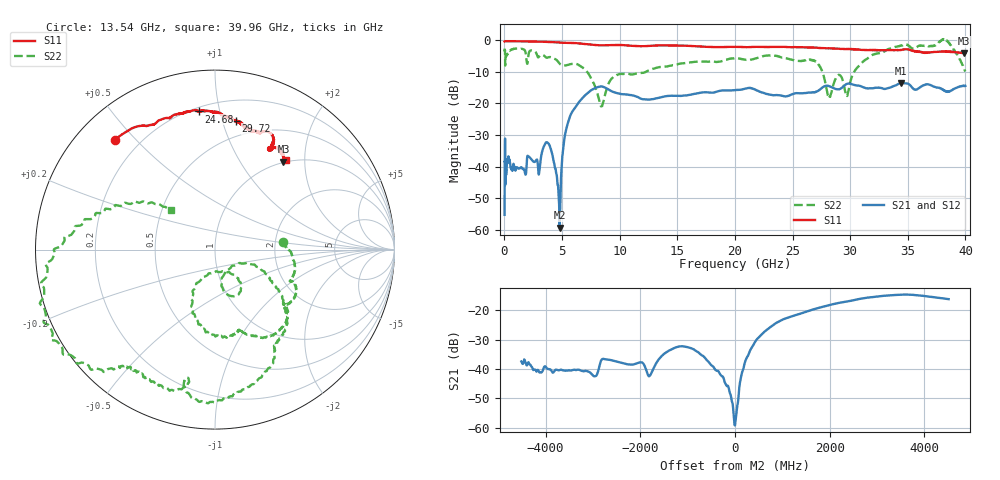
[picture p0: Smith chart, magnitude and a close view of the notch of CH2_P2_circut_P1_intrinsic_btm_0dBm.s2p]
!Keysight Technologies,N5222B,MY61257109,A.17.25.03
!Date: Tuesday, July 21, 2026 12:22:11
!Correction: S11(C  2-Port  )
!S21(C  2-Port  )
!S12(C  2-Port  )
!S22(C  2-Port  )
!S2P File: Measurements: S11, S21, S12, S22:
# Hz S  dB  R 50
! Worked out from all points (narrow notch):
!   4000 points, 10 MHz to 40 GHz, reference 50 ohm
!   highest |S21| = -13.54 dB at 34.43 GHz (marker M1); lowest = -59.3 dB at 4.79 GHz (marker M2)
!   notch at M2: 42.8 dB deep, 752 MHz wide at half that depth
!   lowest |S11| = -4.1 dB at 39.91 GHz (marker M3), VSWR 4.28, Z = 49.3 + j78.7 ohm
!   |S11| at or under -10 dB: nowhere
!   |S22| runs from -20.9 to 0.3 dB; largest |S21 - S12| = 0.0023
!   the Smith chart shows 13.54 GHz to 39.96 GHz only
!   S11 on the Smith chart (normalised r, x): 13.54 GHz: 0.11, +0.44; 24.68 GHz: 0.22, +0.86; 29.72 GHz: 0.36, +1.11; 39.96 GHz: 0.97, +1.62
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1e7  -0.40 -179.5  -55.22 27.9  -54.72 33.9  -2.67 -58.8
5e8  -0.34 177.7  -39.25 -4.3  -39.20 -4.5  -3.21 169.0
1.58e9  -0.37 172.8  -40.72 30.4  -40.71 30.4  -2.77 107.7
3.74e9  -0.54 162.9  -32.39 56.1  -32.38 56.2  -5.52 45.4
4.79e9  -0.75 158.2  -59.27 134.9  -58.87 138.2  -7.41 18.6
5.39e9  -0.85 156.2  -27.64 168.8  -27.60 167.7  -7.90 19.0
6.68e9  -1.10 150.5  -18.64 112.5  -18.64 112.5  -8.40 -8.7
8.41e9  -1.64 146.4  -14.61 55.5  -14.65 55.4  -20.82 7.1
9.55e9  -1.52 143.8  -16.53 31.8  -16.54 31.7  -11.43 28.6
1.334e10  -1.67 133.0  -18.27 18.7  -18.27 18.8  -8.58 8.0
1.354e10  -1.66 132.2  -18.14 18.3  -18.13 18.4  -8.44 6.1
2.001e10  -2.12 112.0  -15.79 -9.2  -15.78 -9.1  -5.77 -32.3
2.468e10  -2.21 96.8  -17.54 -19.9  -17.55 -19.9  -5.91 -69.5
2.667e10  -2.29 89.7  -16.51 -21.4  -16.56 -21.6  -6.26 -86.8
2.815e10  -2.60 84.9  -14.50 -30.1  -14.48 -30.0  -18.31 -88.1
2.972e10  -2.77 80.7  -13.82 -32.1  -13.80 -32.1  -17.51 -48.0
3.334e10  -3.12 71.6  -15.11 -43.9  -15.08 -44.0  -2.80 -65.6
3.443e10  -3.08 68.9  -13.54 -50.6  -13.53 -50.6  -1.70 -84.1
3.832e10  -3.57 56.6  -16.16 -64.2  -16.17 -64.3  0.04 -163.9
3.991e10  -4.14 52.1  -14.41 -63.6  -14.35 -63.6  -9.18 139.1
3.996e10  -3.96 51.6  -14.54 -64.2  -14.50 -64.4  -9.66 138.1
4e10  -4.09 52.3  -14.45 -65.1  -14.40 -65.1  -9.87 138.3
